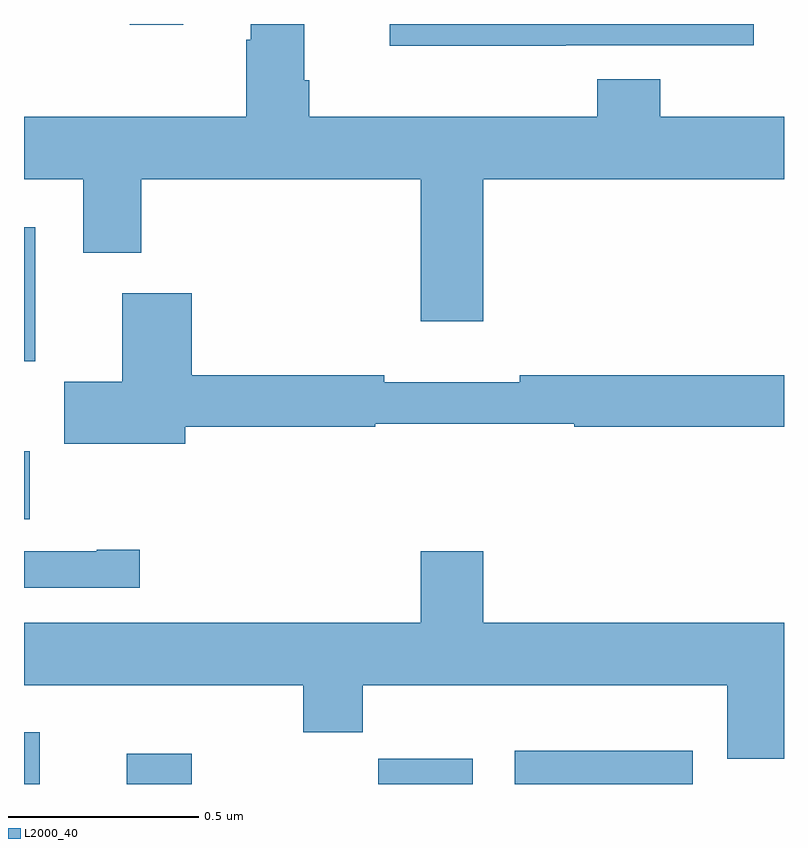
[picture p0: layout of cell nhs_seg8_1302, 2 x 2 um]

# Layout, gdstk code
import gdstk
lib = gdstk.Library(unit=1e-6, precision=1e-09)
def R(c, l, rs):  # rectangles x0, y0, x1, y1
    for r in rs: c.add(gdstk.rectangle(r[:2], r[2:], *l))
def P(c, l, *ps):  # polygons
    for p in ps: c.add(gdstk.Polygon(p, *l))
L2000_40 = (2000, 40)

nhs_seg8_1302 = lib.new_cell('nhs_seg8_1302')
R(nhs_seg8_1302, L2000_40, [(128,1122.9,128.041,1123.036), (128.27,1122.9,128.441,1122.979), (128.932,1122.9,129.181,1122.967), (129.291,1122.9,129.76,1122.988), (128,1123.597,128.015,1123.776), (128,1124.012,128.029,1124.365), (128.278,1124.898,128.419,1124.9)])
P(nhs_seg8_1302, L2000_40, [(129.208,1124.492),(130,1124.492),(130,1124.656),(129.674,1124.656),(129.674,1124.755),(129.509,1124.755),(129.509,1124.656),(128.75,1124.656),(128.75,1124.752),(128.737,1124.752),(128.737,1124.9),(128.597,1124.9),(128.597,1124.858),(128.585,1124.858),(128.585,1124.656),(128,1124.656),(128,1124.492),(128.156,1124.492),(128.156,1124.298),(128.309,1124.298),(128.309,1124.492),(129.044,1124.492),(129.044,1124.118),(129.208,1124.118)],
  [(129.425,1124.844),(129.921,1124.844),(129.921,1124.9),(128.962,1124.9),(128.962,1124.843),(129.425,1124.843)],
  [(128.424,1123.84),(128.924,1123.84),(128.924,1123.848),(129.448,1123.848),(129.448,1123.84),(130,1123.84),(130,1123.976),(129.304,1123.976),(129.304,1123.957),(128.948,1123.957),(128.948,1123.976),(128.441,1123.976),(128.441,1124.191),(128.258,1124.191),(128.258,1123.959),(128.106,1123.959),(128.106,1123.796),(128.424,1123.796)],
  [(128.305,1123.517),(128.192,1123.517),(128.192,1123.512),(128,1123.512),(128,1123.416),(128.305,1123.416)],
  [(130,1123.324),(129.208,1123.324),(129.208,1123.513),(129.044,1123.513),(129.044,1123.324),(128,1123.324),(128,1123.16),(128.735,1123.16),(128.735,1123.036),(128.891,1123.036),(128.891,1123.16),(129.851,1123.16),(129.851,1122.966),(130,1122.966)])

lib.write_gds('nhs_seg8_1302.gds')
